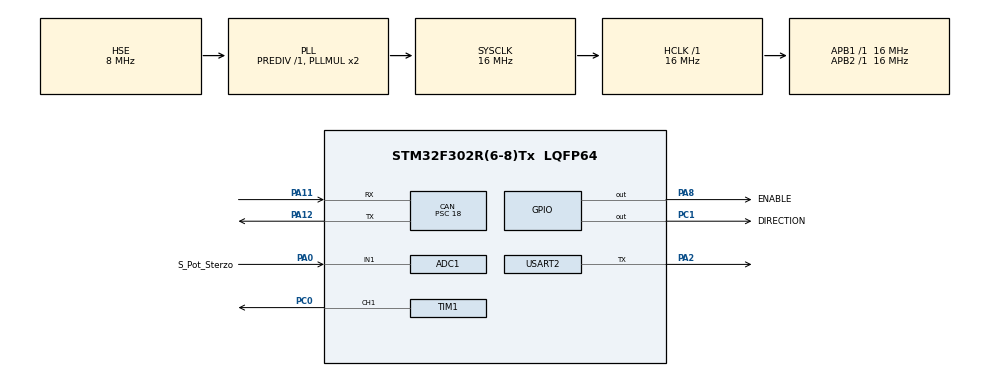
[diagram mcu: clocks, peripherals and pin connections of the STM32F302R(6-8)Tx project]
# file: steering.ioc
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ADC1.Channel-0\#ChannelRegularConversion=ADC_CHANNEL_1
ADC1.ContinuousConvMode=ENABLE
ADC1.DMAContinuousRequests=ENABLE
ADC1.NbrOfConversionFlag=1
ADC1.Offset-0\#ChannelRegularConversion=0
ADC1.OffsetNumber-0\#ChannelRegularConversion=ADC_OFFSET_NONE
ADC1.Rank-0\#ChannelRegularConversion=1
ADC1.Resolution=ADC_RESOLUTION_10B
ADC1.SamplingTime-0\#ChannelRegularConversion=ADC_SAMPLETIME_181CYCLES_5
ADC1.SamplingTimeOPAMP-0\#ChannelRegularConversion=ADC_SAMPLETIME_61CYCLES_5
ADC1.SubFamily=STM32F302x8
ADC1.master=1
CAN.BS1=CAN_BS1_2TQ
CAN.CalculateBaudRate=222222
CAN.CalculateTimeBit=4500
CAN.CalculateTimeQuantum=1125.0
CAN.Mode=CAN_MODE_NORMAL
CAN.NART=DISABLE
CAN.Prescaler=18
Dma.ADC1.0.Direction=DMA_PERIPH_TO_MEMORY
Dma.ADC1.0.Instance=DMA1_Channel1
Dma.ADC1.0.MemDataAlignment=DMA_MDATAALIGN_WORD
Dma.ADC1.0.MemInc=DMA_MINC_ENABLE
Dma.ADC1.0.Mode=DMA_CIRCULAR
Dma.ADC1.0.PeriphDataAlignment=DMA_PDATAALIGN_WORD
Dma.ADC1.0.PeriphInc=DMA_PINC_DISABLE
Dma.ADC1.0.Priority=DMA_PRIORITY_LOW
Dma.Request0=ADC1
Mcu.Family=STM32F3
Mcu.Name=STM32F302R(6-8)Tx
Mcu.Package=LQFP64
NVIC.DMA1_Channel1_IRQn=true\:0\:0\:false\:false\:true\:false\:true\:true
NVIC.PriorityGroup=NVIC_PRIORITYGROUP_4
NVIC.TIM2_IRQn=true\:0\:0\:false\:false\:true\:true\:true\:true
PA0.GPIO_Label=S_Pot_Sterzo
PA0.Mode=IN1-Single-Ended
PA0.Signal=ADC1_IN1
PA11.Mode=CAN_Activate
PA11.Signal=CAN_RX
PA12.Mode=CAN_Activate
PA12.Signal=CAN_TX
PA13.Mode=Serial_Wire
PA13.Signal=SYS_JTMS-SWDIO
PA14.Mode=Serial_Wire
PA14.Signal=SYS_JTCK-SWCLK
PA2.Mode=Half_duplex(single_wire_mode)
PA2.Signal=USART2_TX
PA8.GPIO_Label=ENABLE
PA8.Signal=GPIO_Output
PC0.Signal=S_TIM1_CH1
PC1.GPIO_Label=DIRECTION
PC1.Signal=GPIO_Output
PF0-OSC_IN.Mode=HSE-External-Oscillator
PF0-OSC_IN.Signal=RCC_OSC_IN
PF1-OSC_OUT.Mode=HSE-External-Oscillator
PF1-OSC_OUT.Signal=RCC_OSC_OUT
ProjectManager.HeapSize=0x200
ProjectManager.StackSize=0x400
ProjectManager.TargetToolchain=STM32CubeIDE
RCC.ADC12PRES=RCC_ADC1PLLCLK_DIV8
RCC.AHBFreq_Value=16000000
RCC.APB1Freq_Value=16000000
RCC.APB1TimFreq_Value=16000000
RCC.APB2Freq_Value=16000000
RCC.APB2TimFreq_Value=16000000
RCC.CortexFreq_Value=16000000
RCC.HCLKFreq_Value=16000000
RCC.HSE_VALUE=8000000
RCC.HSI_VALUE=8000000
RCC.LSE_VALUE=32768
RCC.PLLSourceVirtual=RCC_PLLSOURCE_HSE
RCC.SYSCLKFreq_VALUE=16000000
RCC.SYSCLKSourceVirtual=RCC_SYSCLKSOURCE_PLLCLK
RCC.USBFreq_Value=16000000
SH.S_TIM1_CH1.0=TIM1_CH1,PWM Generation1 CH1
TIM1.Channel-PWM\ Generation1\ CH1=TIM_CHANNEL_1
TIM1.Period=100-1
TIM1.Prescaler=2000-1
TIM15.Prescaler=2000-1
TIM2.Period=100-1
TIM2.Prescaler=2000-1
USART2.Mode=MODE_TX
USART2.VirtualMode-Half_duplex(single_wire_mode)=VM_ASYNC
VP_TIM15_VS_ClockSourceINT.Mode=Internal
VP_TIM1_VS_ClockSourceINT.Mode=Internal
VP_TIM2_VS_ClockSourceINT.Mode=Internal
board=custom

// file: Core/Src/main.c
/* USER CODE BEGIN Header */
/**
  ******************************************************************************
  * @file           : main.c
  * @brief          : Main program body
  ******************************************************************************
  * @attention
  *
  * <h2><center>&copy; Copyright (c) 2021 STMicroelectronics.
  * All rights reserved.</center></h2>
  *
  * This softare component is licensed by ST under BSD 3-Clause license,
  * the "License"; You may not use this file except in compliance with the
  * License. You may obtain a copy of the License at:
  *                        opensource.org/licenses/BSD-3-Clause
  *
  ******************************************************************************
  */
/* USER CODE END Header */
#include "main.h"

/* USER CODE BEGIN Includes */
#include "mmr_can.h"
#include "mmr_can_header.h"
#include "mmr_can_util.h"
#include "mmr_can_scs.h"

#include <math.h>
#include <stdbool.h>
#include <stdio.h>

/* USER CODE END Includes */

/* USER CODE BEGIN PD */

#define ADC_SIZE 1

const float ADC_MAX_VALUE = 1024.0f;
const float ADC_MAX_VOLTAGE = 3.6f;
const float DEGREES_PER_VOLT = 20.0f;
const float VOLTAGE_RATIO = 3.3f/5.0f;
/* USER CODE END PD */

 ADC_HandleTypeDef hadc1;
DMA_HandleTypeDef hdma_adc1;

CAN_HandleTypeDef hcan;

TIM_HandleTypeDef htim1;
TIM_HandleTypeDef htim2;
TIM_HandleTypeDef htim15;

UART_HandleTypeDef huart2;

/* USER CODE BEGIN PV */
volatile float degrees;

float target_angle=-40;
float current_angle=0;
float tension;
float angular_step=360.0f/1600.0f;
float angular_error=0;
uint16_t prescaler=500-1;
uint32_t ADC1_Value[ADC_SIZE];
/* USER CODE END PV */

void SystemClock_Config(void);
static void MX_GPIO_Init(void);
static void MX_CAN_Init(void);
static void MX_DMA_Init(void);
static void MX_ADC1_Init(void);
static void MX_TIM2_Init(void);
static void MX_TIM1_Init(void);
static void MX_TIM15_Init(void);
static void MX_USART2_UART_Init(void);
/* USER CODE BEGIN PFP */

static void steer(
  GPIO_PinState directionPinExpected,
  GPIO_PinState directionPinWrite
) {
  if (HAL_GPIO_ReadPin(DIRECTION_GPIO_Port, DIRECTION_Pin) == directionPinExpected){
    HAL_GPIO_WritePin(DIRECTION_GPIO_Port, DIRECTION_Pin, directionPinWrite);
  }

  TIM1->CCR1 = 50;
}

static void steerRight() {
  steer(GPIO_PIN_SET, GPIO_PIN_RESET);
}

static void steerLeft() {
  steer(GPIO_PIN_RESET, GPIO_PIN_SET);
}

#define allHigh(bitvect) ((bitvect) == ~0u)
#define allLow(bitvect) ((bitvect) == 0)

#define matchMask(bitvect, mask) \
  (((sampleCount) & (mask)) == (mask))

void HAL_TIM_PeriodElapsedCallback(TIM_HandleTypeDef *htim)
{
  static float lastTension = 0;
  static uint8_t samples = 0;
  static uint8_t counter = 0;

//  target_angle = sin(counter * .01f) * 45 - 45;
//  counter++;

  // Check which version of the timer triggered this callback
  if (htim == &htim2)
  {
    TIM1->PSC = prescaler; // We control the speed of the motor

    float adcValue = ADC1_Value[0];
    if (adcValue <= 0 || adcValue >= 4095)
      return;

    tension = ((adcValue / ADC_MAX_VALUE) * ADC_MAX_VOLTAGE)/(VOLTAGE_RATIO) - 2.45f;
    float tAbs = fabs(fabs(lastTension) - fabs(tension));

//    samples <<= 1;
//    samples |= tAbs > .001f; // 0 if it doesn't cross the threshold
//
//    if (samples != 0xFF) // 8bit without changes -> do nothing
//      return;

    lastTension = tension;

    current_angle = tension * DEGREES_PER_VOLT * 4.0f;
    angular_error = -(target_angle - current_angle); // We calculate the error compared to the target

    if (current_angle > 15.0f) {
      TIM1->CCR1 = 0;
      return;
    }

    if (angular_error > 2) {
      steerRight();
    }
    else if (angular_error < -2) {
      steerLeft();
    }
    else {
      TIM1->CCR1 = 0;
    }
  }
}
/* USER CODE END PFP */

int main(void)
{

  /* MCU Configuration--------------------------------------------------------*/

  /* Reset of all peripherals, Initializes the Flash interface and the Systick. */
  HAL_Init();

  /* Configure the system clock */
  SystemClock_Config();

  /* Initialize all configured peripherals */
  MX_GPIO_Init();
  MX_CAN_Init();
  MX_DMA_Init();
  MX_ADC1_Init();
  MX_TIM2_Init();
  MX_TIM1_Init();
  MX_TIM15_Init();
  MX_USART2_UART_Init();
  /* USER CODE BEGIN 2 */
  MMR_CAN_SetTickProvider(HAL_GetTick);

  HAL_ADC_Start_DMA(&hadc1, (uint32_t*)ADC1_Value, ADC_SIZE);
  HAL_TIM_Base_Start_IT(&htim2);
  HAL_TIM_PWM_Start(&htim1, TIM_CHANNEL_1);
  /* USER CODE BEGIN 2 */

  /* USER CODE END 2 */

  /* Infinite loop */
  /* USER CODE BEGIN WHILE */
  /****/
  CanRxBuffer buffer = {};
  MmrCanMessage message = {
    .store = buffer,
  };

  char txbuff[32] = {};

  HAL_GPIO_WritePin(ENABLE_GPIO_Port, ENABLE_Pin, GPIO_PIN_SET);
  while (1) {
//    uint32_t pendingMessages =
//      HAL_CAN_GetRxFifoFillLevel(&hcan, MMR_CAN_RX_FIFO);
//
//    if (pendingMessages > 0) {
//      if (MMR_CAN_Receive(&hcan, &message) != HAL_OK) {
//        Error_Handler();
//      }
//
//      if (message.header.messageId == MMR_CAN_MESSAGE_ID_DRIVE_STEERING_ANGLE) {
//        target_angle = (*(float*)buffer) * 6;
//      }
//    }

//    sprintf(txbuff, "%f.5, %f.5\n\r", target_angle, current_angle);
//    HAL_UART_Transmit(&huart2, (uint8_t*)txbuff, strlen(txbuff), HAL_MAX_DELAY);

    /* USER CODE END WHILE */

  }
}

void SystemClock_Config(void)
{
  RCC_OscInitTypeDef RCC_OscInitStruct = {0};
  RCC_ClkInitTypeDef RCC_ClkInitStruct = {0};
  RCC_PeriphCLKInitTypeDef PeriphClkInit = {0};

  /** Initializes the RCC Oscillators according to the specified parameters
  * in the RCC_OscInitTypeDef structure.
  */
  RCC_OscInitStruct.OscillatorType = RCC_OSCILLATORTYPE_HSE;
  RCC_OscInitStruct.HSEState = RCC_HSE_ON;
  RCC_OscInitStruct.HSEPredivValue = RCC_HSE_PREDIV_DIV1;
  RCC_OscInitStruct.HSIState = RCC_HSI_ON;
  RCC_OscInitStruct.PLL.PLLState = RCC_PLL_ON;
  RCC_OscInitStruct.PLL.PLLSource = RCC_PLLSOURCE_HSE;
  RCC_OscInitStruct.PLL.PLLMUL = RCC_PLL_MUL2;
  if (HAL_RCC_OscConfig(&RCC_OscInitStruct) != HAL_OK)
  {
    Error_Handler();
  }

  /** Initializes the CPU, AHB and APB buses clocks
  */
  RCC_ClkInitStruct.ClockType = RCC_CLOCKTYPE_HCLK|RCC_CLOCKTYPE_SYSCLK
                              |RCC_CLOCKTYPE_PCLK1|RCC_CLOCKTYPE_PCLK2;
  RCC_ClkInitStruct.SYSCLKSource = RCC_SYSCLKSOURCE_PLLCLK;
  RCC_ClkInitStruct.AHBCLKDivider = RCC_SYSCLK_DIV1;
  RCC_ClkInitStruct.APB1CLKDivider = RCC_HCLK_DIV1;
  RCC_ClkInitStruct.APB2CLKDivider = RCC_HCLK_DIV1;

  if (HAL_RCC_ClockConfig(&RCC_ClkInitStruct, FLASH_LATENCY_0) != HAL_OK)
  {
    Error_Handler();
  }
  PeriphClkInit.PeriphClockSelection = RCC_PERIPHCLK_TIM1|RCC_PERIPHCLK_TIM15
                              |RCC_PERIPHCLK_ADC1;
  PeriphClkInit.Tim1ClockSelection = RCC_TIM1CLK_HCLK;
  PeriphClkInit.Tim15ClockSelection = RCC_TIM15CLK_HCLK;
  PeriphClkInit.Adc1ClockSelection = RCC_ADC1PLLCLK_DIV8;

  if (HAL_RCCEx_PeriphCLKConfig(&PeriphClkInit) != HAL_OK)
  {
    Error_Handler();
  }
}

static void MX_ADC1_Init(void)
{

  ADC_ChannelConfTypeDef sConfig = {0};

  /** Common config
  */
  hadc1.Instance = ADC1;
  hadc1.Init.ClockPrescaler = ADC_CLOCK_ASYNC_DIV1;
  hadc1.Init.Resolution = ADC_RESOLUTION_10B;
  hadc1.Init.ScanConvMode = ADC_SCAN_DISABLE;
  hadc1.Init.ContinuousConvMode = ENABLE;
  hadc1.Init.DiscontinuousConvMode = DISABLE;
  hadc1.Init.ExternalTrigConvEdge = ADC_EXTERNALTRIGCONVEDGE_NONE;
  hadc1.Init.ExternalTrigConv = ADC_SOFTWARE_START;
  hadc1.Init.DataAlign = ADC_DATAALIGN_RIGHT;
  hadc1.Init.NbrOfConversion = 1;
  hadc1.Init.DMAContinuousRequests = ENABLE;
  hadc1.Init.EOCSelection = ADC_EOC_SINGLE_CONV;
  hadc1.Init.LowPowerAutoWait = DISABLE;
  hadc1.Init.Overrun = ADC_OVR_DATA_OVERWRITTEN;
  if (HAL_ADC_Init(&hadc1) != HAL_OK)
  {
    Error_Handler();
  }

  /** Configure Regular Channel
  */
  sConfig.Channel = ADC_CHANNEL_1;
  sConfig.Rank = ADC_REGULAR_RANK_1;
  sConfig.SingleDiff = ADC_SINGLE_ENDED;
  sConfig.SamplingTime = ADC_SAMPLETIME_181CYCLES_5;
  sConfig.OffsetNumber = ADC_OFFSET_NONE;
  sConfig.Offset = 0;
  if (HAL_ADC_ConfigChannel(&hadc1, &sConfig) != HAL_OK)
  {
    Error_Handler();
  }

}

static void MX_CAN_Init(void)
{

  hcan.Instance = CAN;
  hcan.Init.Prescaler = 18;
  hcan.Init.Mode = CAN_MODE_NORMAL;
  hcan.Init.SyncJumpWidth = CAN_SJW_1TQ;
  hcan.Init.TimeSeg1 = CAN_BS1_2TQ;
  hcan.Init.TimeSeg2 = CAN_BS2_1TQ;
  hcan.Init.TimeTriggeredMode = DISABLE;
  hcan.Init.AutoBusOff = DISABLE;
  hcan.Init.AutoWakeUp = DISABLE;
  hcan.Init.AutoRetransmission = DISABLE;
  hcan.Init.ReceiveFifoLocked = DISABLE;
  hcan.Init.TransmitFifoPriority = DISABLE;
  if (HAL_CAN_Init(&hcan) != HAL_OK)
  {
    Error_Handler();
  }
  /* USER CODE BEGIN CAN_Init 2 */
  if (MMR_CAN_BasicSetupAndStart(&hcan) != HAL_OK) {
    Error_Handler();
  }
  /* USER CODE END CAN_Init 2 */

}

static void MX_TIM1_Init(void)
{

  TIM_ClockConfigTypeDef sClockSourceConfig = {0};
  TIM_MasterConfigTypeDef sMasterConfig = {0};
  TIM_OC_InitTypeDef sConfigOC = {0};
  TIM_BreakDeadTimeConfigTypeDef sBreakDeadTimeConfig = {0};

  htim1.Instance = TIM1;
  htim1.Init.Prescaler = 2000-1;
  htim1.Init.CounterMode = TIM_COUNTERMODE_UP;
  htim1.Init.Period = 100-1;
  htim1.Init.ClockDivision = TIM_CLOCKDIVISION_DIV1;
  htim1.Init.RepetitionCounter = 0;
  htim1.Init.AutoReloadPreload = TIM_AUTORELOAD_PRELOAD_DISABLE;
  if (HAL_TIM_Base_Init(&htim1) != HAL_OK)
  {
    Error_Handler();
  }
  sClockSourceConfig.ClockSource = TIM_CLOCKSOURCE_INTERNAL;
  if (HAL_TIM_ConfigClockSource(&htim1, &sClockSourceConfig) != HAL_OK)
  {
    Error_Handler();
  }
  if (HAL_TIM_PWM_Init(&htim1) != HAL_OK)
  {
    Error_Handler();
  }
  sMasterConfig.MasterOutputTrigger = TIM_TRGO_RESET;
  sMasterConfig.MasterOutputTrigger2 = TIM_TRGO2_RESET;
  sMasterConfig.MasterSlaveMode = TIM_MASTERSLAVEMODE_DISABLE;
  if (HAL_TIMEx_MasterConfigSynchronization(&htim1, &sMasterConfig) != HAL_OK)
  {
    Error_Handler();
  }
  sConfigOC.OCMode = TIM_OCMODE_PWM1;
  sConfigOC.Pulse = 0;
  sConfigOC.OCPolarity = TIM_OCPOLARITY_HIGH;
  sConfigOC.OCNPolarity = TIM_OCNPOLARITY_HIGH;
  sConfigOC.OCFastMode = TIM_OCFAST_DISABLE;
  sConfigOC.OCIdleState = TIM_OCIDLESTATE_RESET;
  sConfigOC.OCNIdleState = TIM_OCNIDLESTATE_RESET;
  if (HAL_TIM_PWM_ConfigChannel(&htim1, &sConfigOC, TIM_CHANNEL_1) != HAL_OK)
  {
    Error_Handler();
  }
  sBreakDeadTimeConfig.OffStateRunMode = TIM_OSSR_DISABLE;
  sBreakDeadTimeConfig.OffStateIDLEMode = TIM_OSSI_DISABLE;
  sBreakDeadTimeConfig.LockLevel = TIM_LOCKLEVEL_OFF;
  sBreakDeadTimeConfig.DeadTime = 0;
  sBreakDeadTimeConfig.BreakState = TIM_BREAK_DISABLE;
  sBreakDeadTimeConfig.BreakPolarity = TIM_BREAKPOLARITY_HIGH;
  sBreakDeadTimeConfig.BreakFilter = 0;
  sBreakDeadTimeConfig.Break2State = TIM_BREAK2_DISABLE;
  sBreakDeadTimeConfig.Break2Polarity = TIM_BREAK2POLARITY_HIGH;
  sBreakDeadTimeConfig.Break2Filter = 0;
  sBreakDeadTimeConfig.AutomaticOutput = TIM_AUTOMATICOUTPUT_DISABLE;
  if (HAL_TIMEx_ConfigBreakDeadTime(&htim1, &sBreakDeadTimeConfig) != HAL_OK)
  {
    Error_Handler();
  }
  HAL_TIM_MspPostInit(&htim1);

}

static void MX_TIM2_Init(void)
{

  TIM_ClockConfigTypeDef sClockSourceConfig = {0};
  TIM_MasterConfigTypeDef sMasterConfig = {0};

  htim2.Instance = TIM2;
  htim2.Init.Prescaler = 2000-1;
  htim2.Init.CounterMode = TIM_COUNTERMODE_UP;
  htim2.Init.Period = 100-1;
  htim2.Init.ClockDivision = TIM_CLOCKDIVISION_DIV1;
  htim2.Init.AutoReloadPreload = TIM_AUTORELOAD_PRELOAD_DISABLE;
  if (HAL_TIM_Base_Init(&htim2) != HAL_OK)
  {
    Error_Handler();
  }
  sClockSourceConfig.ClockSource = TIM_CLOCKSOURCE_INTERNAL;
  if (HAL_TIM_ConfigClockSource(&htim2, &sClockSourceConfig) != HAL_OK)
  {
    Error_Handler();
  }
  sMasterConfig.MasterOutputTrigger = TIM_TRGO_RESET;
  sMasterConfig.MasterSlaveMode = TIM_MASTERSLAVEMODE_DISABLE;
  if (HAL_TIMEx_MasterConfigSynchronization(&htim2, &sMasterConfig) != HAL_OK)
  {
    Error_Handler();
  }

}

static void MX_TIM15_Init(void)
{

  TIM_ClockConfigTypeDef sClockSourceConfig = {0};
  TIM_MasterConfigTypeDef sMasterConfig = {0};

  htim15.Instance = TIM15;
  htim15.Init.Prescaler = 2000-1;
  htim15.Init.CounterMode = TIM_COUNTERMODE_UP;
  htim15.Init.Period = 65535;
  htim15.Init.ClockDivision = TIM_CLOCKDIVISION_DIV1;
  htim15.Init.RepetitionCounter = 0;
  htim15.Init.AutoReloadPreload = TIM_AUTORELOAD_PRELOAD_DISABLE;
  if (HAL_TIM_Base_Init(&htim15) != HAL_OK)
  {
    Error_Handler();
  }
  sClockSourceConfig.ClockSource = TIM_CLOCKSOURCE_INTERNAL;
  if (HAL_TIM_ConfigClockSource(&htim15, &sClockSourceConfig) != HAL_OK)
  {
    Error_Handler();
  }
  sMasterConfig.MasterOutputTrigger = TIM_TRGO_RESET;
  sMasterConfig.MasterSlaveMode = TIM_MASTERSLAVEMODE_DISABLE;
  if (HAL_TIMEx_MasterConfigSynchronization(&htim15, &sMasterConfig) != HAL_OK)
  {
    Error_Handler();
  }

}

static void MX_USART2_UART_Init(void)
{

  huart2.Instance = USART2;
  huart2.Init.BaudRate = 38400;
  huart2.Init.WordLength = UART_WORDLENGTH_8B;
  huart2.Init.StopBits = UART_STOPBITS_1;
  huart2.Init.Parity = UART_PARITY_NONE;
  huart2.Init.Mode = UART_MODE_TX;
  huart2.Init.HwFlowCtl = UART_HWCONTROL_NONE;
  huart2.Init.OverSampling = UART_OVERSAMPLING_16;
  huart2.Init.OneBitSampling = UART_ONE_BIT_SAMPLE_DISABLE;
  huart2.AdvancedInit.AdvFeatureInit = UART_ADVFEATURE_NO_INIT;
  if (HAL_HalfDuplex_Init(&huart2) != HAL_OK)
  {
    Error_Handler();
  }

}

static void MX_DMA_Init(void)
{

  /* DMA controller clock enable */
  __HAL_RCC_DMA1_CLK_ENABLE();

  /* DMA interrupt init */
  /* DMA1_Channel1_IRQn interrupt configuration */
  HAL_NVIC_SetPriority(DMA1_Channel1_IRQn, 0, 0);
  HAL_NVIC_EnableIRQ(DMA1_Channel1_IRQn);

}

static void MX_GPIO_Init(void)
{
  GPIO_InitTypeDef GPIO_InitStruct = {0};

  /* GPIO Ports Clock Enable */
  __HAL_RCC_GPIOF_CLK_ENABLE();
  __HAL_RCC_GPIOC_CLK_ENABLE();
  __HAL_RCC_GPIOA_CLK_ENABLE();

  /*Configure GPIO pin Output Level */
  HAL_GPIO_WritePin(DIRECTION_GPIO_Port, DIRECTION_Pin, GPIO_PIN_RESET);

  /*Configure GPIO pin Output Level */
  HAL_GPIO_WritePin(ENABLE_GPIO_Port, ENABLE_Pin, GPIO_PIN_RESET);

  /*Configure GPIO pin : DIRECTION_Pin */
  GPIO_InitStruct.Pin = DIRECTION_Pin;
  GPIO_InitStruct.Mode = GPIO_MODE_OUTPUT_PP;
  GPIO_InitStruct.Pull = GPIO_NOPULL;
  GPIO_InitStruct.Speed = GPIO_SPEED_FREQ_LOW;
  HAL_GPIO_Init(DIRECTION_GPIO_Port, &GPIO_InitStruct);

  /*Configure GPIO pin : ENABLE_Pin */
  GPIO_InitStruct.Pin = ENABLE_Pin;
  GPIO_InitStruct.Mode = GPIO_MODE_OUTPUT_PP;
  GPIO_InitStruct.Pull = GPIO_NOPULL;
  GPIO_InitStruct.Speed = GPIO_SPEED_FREQ_LOW;
  HAL_GPIO_Init(ENABLE_GPIO_Port, &GPIO_InitStruct);

}

void Error_Handler(void)
{
  __disable_irq();
  while (1)
  {
  }
}
